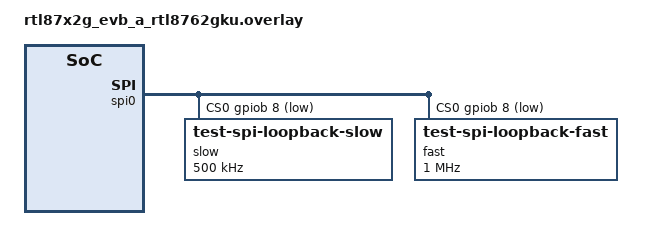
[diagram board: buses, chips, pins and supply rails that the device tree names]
/*
 * Copyright (c) 2026, Realtek Semiconductor Corporation
 *
 * SPDX-License-Identifier: Apache-2.0
 */

&gpiob {
	status = "okay";
	pinctrl-0 = <&gpiob_default>;
	pinctrl-names = "default";
	ngpios = <32>;
	status = "okay";
};

&dma0 {
	status = "okay";
};

&spi0 {
	status = "okay";
	pinctrl-0 = <&spi0_default>;
	pinctrl-names = "default";
	cs-gpios = <&gpiob 8 GPIO_ACTIVE_LOW>;
	dmas = <&dma0 5 16 0x10021>, <&dma0 6 17 0xa>;
	dma-names = "tx", "rx";

	slow@0 {
		compatible = "test-spi-loopback-slow";
		reg = <0>;
		spi-max-frequency = <500000>;
	};

	fast@0 {
		compatible = "test-spi-loopback-fast";
		reg = <0>;
		spi-max-frequency = <1000000>;
	};
};

&pinctrl {
	spi0_default: spi0_default {
		group1 {
			psels = <BEE_PSEL(SPI0_CLK_MASTER, P4_0)>,
				<BEE_PSEL(SPI0_MO_MASTER, P4_1)>,
				<BEE_PSEL(SPI0_MI_MASTER, P4_2)>;
			output-enable;
			output-high;
			bias-pull-up;
		};
	};

	gpiob_default: gpiob_default {
		group1 {
			psels = <BEE_PSEL_GPIOB_8_P4_3>;
		};
	};
};
